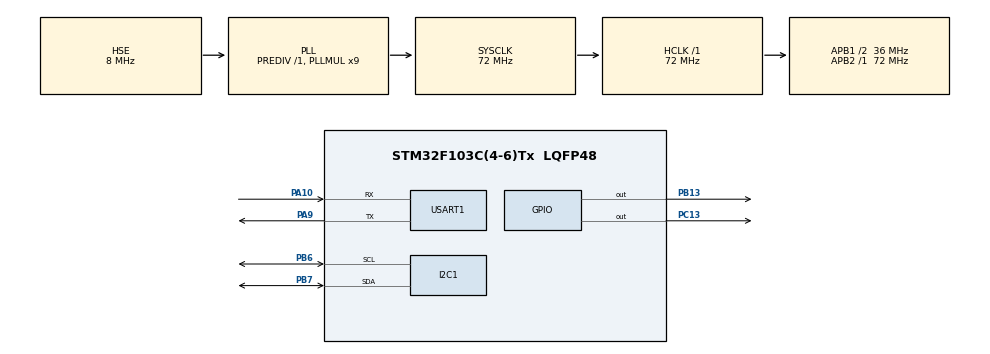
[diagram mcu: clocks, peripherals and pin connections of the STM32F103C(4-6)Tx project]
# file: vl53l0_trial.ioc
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Mcu.Family=STM32F1
Mcu.Name=STM32F103C(4-6)Tx
Mcu.Package=LQFP48
NVIC.PriorityGroup=NVIC_PRIORITYGROUP_4
PA10.Mode=Asynchronous
PA10.Signal=USART1_RX
PA13.Mode=Serial_Wire
PA13.Signal=SYS_JTMS-SWDIO
PA14.Mode=Serial_Wire
PA14.Signal=SYS_JTCK-SWCLK
PA9.Mode=Asynchronous
PA9.Signal=USART1_TX
PB13.Signal=GPIO_Output
PB6.Mode=I2C
PB6.Signal=I2C1_SCL
PB7.Mode=I2C
PB7.Signal=I2C1_SDA
PC13-TAMPER-RTC.Signal=GPIO_Output
PD0-OSC_IN.Mode=HSE-External-Oscillator
PD0-OSC_IN.Signal=RCC_OSC_IN
PD1-OSC_OUT.Mode=HSE-External-Oscillator
PD1-OSC_OUT.Signal=RCC_OSC_OUT
ProjectManager.HeapSize=0x200
ProjectManager.StackSize=0x400
ProjectManager.TargetToolchain=Makefile
RCC.AHBFreq_Value=72000000
RCC.APB1CLKDivider=RCC_HCLK_DIV2
RCC.APB1Freq_Value=36000000
RCC.APB1TimFreq_Value=72000000
RCC.APB2Freq_Value=72000000
RCC.APB2TimFreq_Value=72000000
RCC.HCLKFreq_Value=72000000
RCC.PLLMUL=RCC_PLL_MUL9
RCC.PLLSourceVirtual=RCC_PLLSOURCE_HSE
RCC.SYSCLKFreq_VALUE=72000000
RCC.SYSCLKSource=RCC_SYSCLKSOURCE_PLLCLK
RCC.USBFreq_Value=72000000
USART1.VirtualMode=VM_ASYNC
board=custom

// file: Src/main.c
/* USER CODE BEGIN Header */
/**
  ******************************************************************************
  * @file           : main.c
  * @brief          : Main program body
  ******************************************************************************
  * @attention
  *
  * Copyright (c) 2024 STMicroelectronics.
  * All rights reserved.
  *
  * This software is licensed under terms that can be found in the LICENSE file
  * in the root directory of this software component.
  * If no LICENSE file comes with this software, it is provided AS-IS.
  *
  ******************************************************************************
  */
/* USER CODE END Header */
#include "main.h"
#include "i2c.h"
#include "usart.h"
#include "gpio.h"

/* USER CODE BEGIN Includes */

#include <stdio.h>
#include <math.h>
#include <stdlib.h>
#include <sys/types.h>
#include "vl53l0x_api.h"

/* USER CODE END Includes */

/* USER CODE BEGIN PV */
uint8_t Message[64];
uint8_t MessageLen;

VL53L0X_RangingMeasurementData_t RangingData;
VL53L0X_Dev_t  vl53l0x_c; // center module
VL53L0X_DEV    Dev = &vl53l0x_c;
/* USER CODE END PV */

void SystemClock_Config(void);
/* USER CODE BEGIN PFP */

#ifdef __GNUC__
#define PUTCHAR_PROTOTYPE int __io_putchar(int ch)
#else
#define PUTCHAR_PROTOTYPE int fputc(int ch, FILE *f)
#endif
/**
  * @brief  Retargets the C library printf function to the USART.
  */
PUTCHAR_PROTOTYPE
{
  HAL_UART_Transmit(&huart1, (uint8_t *)&ch, 1, HAL_MAX_DELAY);
  return ch;
}

/* USER CODE END PFP */

/* USER CODE BEGIN 0 */

void i2cscan() {
  HAL_Delay(1000);
  uint8_t i, ret;

  /*-[ I2C Bus Scanning ]-*/
  printf("Starting I2C Scanning: \r\n");
  for(i=1; i<128; i++) {
    ret = HAL_I2C_IsDeviceReady(&hi2c1, (uint16_t)(i<<1), 3, 5);
    if (ret != HAL_OK) /* No ACK Received At That Address */
    {
      printf(" - ");
    }
    else if(ret == HAL_OK)
    {
      printf("0x%X", i);
    }
  }
  printf("Done! \r\n\r\n");
  /*--[ Scanning Done ]--*/
}

/* USER CODE END 0 */

int main(void)
{

  /* USER CODE BEGIN 1 */
  uint32_t refSpadCount;
  uint8_t isApertureSpads;
  uint8_t VhvSettings;
  uint8_t PhaseCal;
  /* USER CODE END 1 */

  /* MCU Configuration--------------------------------------------------------*/

  /* Reset of all peripherals, Initializes the Flash interface and the Systick. */
  HAL_Init();

  /* Configure the system clock */
  SystemClock_Config();

  /* Initialize all configured peripherals */
  MX_GPIO_Init();
  MX_I2C1_Init();
  MX_USART1_UART_Init();
  /* USER CODE BEGIN 2 */

  printf("msalamon.pl VL53L0X test\r\n");

  Dev->I2cHandle = &hi2c1;
  Dev->I2cDevAddr = 0x52;

  // HAL_GPIO_WritePin(TOF_XSHUT_GPIO_Port, TOF_XSHUT_Pin, GPIO_PIN_RESET); // Disable XSHUT
  // HAL_Delay(20);
  // HAL_GPIO_WritePin(TOF_XSHUT_GPIO_Port, TOF_XSHUT_Pin, GPIO_PIN_SET); // Enable XSHUT
  // HAL_Delay(20);

  //
  // VL53L0X init for Single Measurement
  //

  VL53L0X_WaitDeviceBooted( Dev );
  VL53L0X_DataInit( Dev );
  VL53L0X_StaticInit( Dev );
  VL53L0X_PerformRefCalibration(Dev, &VhvSettings, &PhaseCal);
  VL53L0X_PerformRefSpadManagement(Dev, &refSpadCount, &isApertureSpads);
  VL53L0X_SetDeviceMode(Dev, VL53L0X_DEVICEMODE_SINGLE_RANGING);

  // Enable/Disable Sigma and Signal check
  VL53L0X_SetLimitCheckEnable(Dev, VL53L0X_CHECKENABLE_SIGMA_FINAL_RANGE, 1);
  VL53L0X_SetLimitCheckEnable(Dev, VL53L0X_CHECKENABLE_SIGNAL_RATE_FINAL_RANGE, 1);
  VL53L0X_SetLimitCheckValue(Dev, VL53L0X_CHECKENABLE_SIGNAL_RATE_FINAL_RANGE, (FixPoint1616_t)(0.1*65536));
  VL53L0X_SetLimitCheckValue(Dev, VL53L0X_CHECKENABLE_SIGMA_FINAL_RANGE, (FixPoint1616_t)(60*65536));
  VL53L0X_SetMeasurementTimingBudgetMicroSeconds(Dev, 33000);
  VL53L0X_SetVcselPulsePeriod(Dev, VL53L0X_VCSEL_PERIOD_PRE_RANGE, 18);
  VL53L0X_SetVcselPulsePeriod(Dev, VL53L0X_VCSEL_PERIOD_FINAL_RANGE, 14);

  /* USER CODE END 2 */

  /* Infinite loop */
  /* USER CODE BEGIN WHILE */
  while (1)
  {
    //i2cscan();
    // HAL_Delay(500);
    // HAL_GPIO_TogglePin(GPIOC, GPIO_PIN_13);
    //
    // VL53L0X_PerformSingleRangingMeasurement(Dev, &RangingData);
    //
    // if(RangingData.RangeStatus == 0)
    // {
    //   printf("Measured distance: %i\n\r", RangingData.RangeMilliMeter);
    // }

    VL53L0X_PerformSingleRangingMeasurement(Dev, &RangingData);

    if(RangingData.RangeStatus == 0)
    {
      printf("Measured distance: %d\r\n", RangingData.RangeMilliMeter);
    }

    /* USER CODE END WHILE */

  }
}

void SystemClock_Config(void)
{
  RCC_OscInitTypeDef RCC_OscInitStruct = {0};
  RCC_ClkInitTypeDef RCC_ClkInitStruct = {0};

  /** Initializes the RCC Oscillators according to the specified parameters
  * in the RCC_OscInitTypeDef structure.
  */
  RCC_OscInitStruct.OscillatorType = RCC_OSCILLATORTYPE_HSE;
  RCC_OscInitStruct.HSEState = RCC_HSE_ON;
  RCC_OscInitStruct.HSEPredivValue = RCC_HSE_PREDIV_DIV1;
  RCC_OscInitStruct.HSIState = RCC_HSI_ON;
  RCC_OscInitStruct.PLL.PLLState = RCC_PLL_ON;
  RCC_OscInitStruct.PLL.PLLSource = RCC_PLLSOURCE_HSE;
  RCC_OscInitStruct.PLL.PLLMUL = RCC_PLL_MUL9;
  if (HAL_RCC_OscConfig(&RCC_OscInitStruct) != HAL_OK)
  {
    Error_Handler();
  }

  /** Initializes the CPU, AHB and APB buses clocks
  */
  RCC_ClkInitStruct.ClockType = RCC_CLOCKTYPE_HCLK|RCC_CLOCKTYPE_SYSCLK
                              |RCC_CLOCKTYPE_PCLK1|RCC_CLOCKTYPE_PCLK2;
  RCC_ClkInitStruct.SYSCLKSource = RCC_SYSCLKSOURCE_PLLCLK;
  RCC_ClkInitStruct.AHBCLKDivider = RCC_SYSCLK_DIV1;
  RCC_ClkInitStruct.APB1CLKDivider = RCC_HCLK_DIV2;
  RCC_ClkInitStruct.APB2CLKDivider = RCC_HCLK_DIV1;

  if (HAL_RCC_ClockConfig(&RCC_ClkInitStruct, FLASH_LATENCY_2) != HAL_OK)
  {
    Error_Handler();
  }
}

void Error_Handler(void)
{
  __disable_irq();
  while (1)
  {
  }
}
